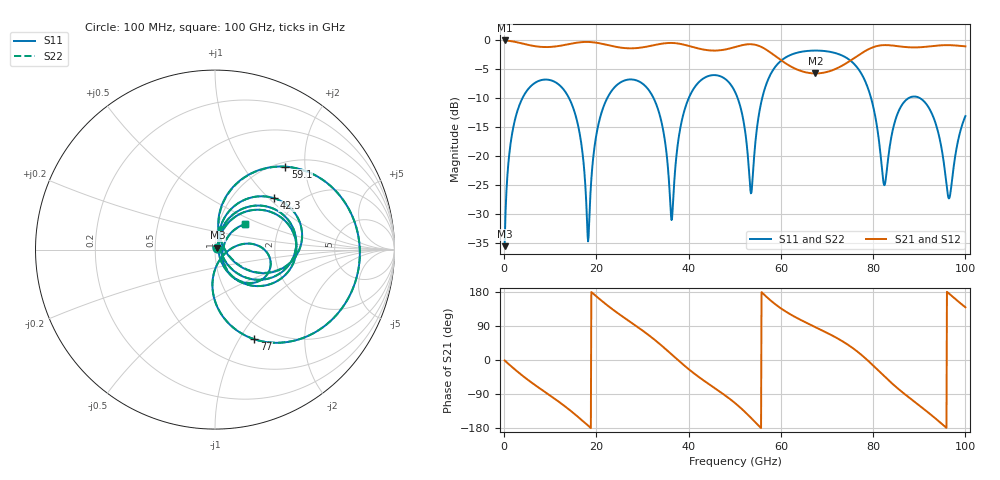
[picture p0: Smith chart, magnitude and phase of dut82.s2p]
! Touchstone file exported from HFSS 2026.1.0
!  File:  C:/ffzhzh/LocalFiles/Ansys_Project_Files/temp_train_TSV_RDL_82_1783451769_28540.aedt
!  Generated:  03:28:53 AM Jul  8, 2026
!  Design:  TSV_RDL
!  Project:  temp_train_TSV_RDL_82_1783451769_28540
! Variables:
!  h_bsmrdl = 4um
!  h_ox = 20um
!  h_rdl = 5um
!  h_sub = 70.7um
!  h_tmrdl = 4.01um
!  h_tsv = 70.7um
!  h_via = 3um
!  l_bsmrdl = 148.19um
!  l_sub = 3232.06um
!  l_tmrdl = 563.64um
!  m_sub = 200um
!  pitch = 42.62um
!  r_tsv = 7.42um
!  s_tmrdl = 10um
!  w_bsmrdl = 23.68um
!  w_sub = 500um
!  w_tmrdl = 20.63um
!  x_tsv_center1 = 573.955um
!  x_tsv_center2 = 745.825um
!  x_tsv_center3 = 1330.095um
!  x_tsv_center4 = 1501.965um
!  x_tsv_center5 = 2086.235um
!  x_tsv_center6 = 2258.105um
# GHz S MA R 50.000000
! Terminal data exported
! Port[1] = TM_RDL1_1_T1
! Port[2] = TM_RDL5_1_T1
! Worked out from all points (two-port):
!   1000 points, 100 MHz to 100 GHz, reference 50 ohm
!   highest |S21| = -0.12 dB at 100 MHz (marker M1); lowest = -5.8 dB at 67.5 GHz (marker M2)
!   |S21| within 3 dB of the highest: start of sweep to 59.32 GHz; 75.97 GHz to end of sweep
!   lowest |S11| = -35.6 dB at 100 MHz (marker M3), VSWR 1.03, Z = 51.3 + j1.02 ohm
!   |S11| at or under -10 dB: 14.04 GHz to 22.38 GHz (8.346 GHz wide, 45.8 % of centre); 79.53 GHz to 87.8 GHz (8.268 GHz wide, 9.88 % of centre); 90.02 GHz to end of sweep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
!   |S22| runs from -35.6 to -1.9 dB; largest |S21 - S12| = 1.6e-12
!   S11 on the Smith chart (normalised r, x): 100 MHz: 1.03, +0.02; 42.3 GHz: 1.51, +1.07; 59.1 GHz: 1.08, +1.59; 77 GHz: 0.82, -1.16; 100 GHz: 1.34, +0.40
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0.1  0.01667 36.6  0.9868 -1.1  0.9868 -1.1  0.01667 36.6
! Gamma 0 0 0 0
! Port Impedance 50 0 50 0
1.9  0.1697 63.3  0.9674 -20.5  0.9674 -20.5  0.1697 63.3
5.7  0.3954 29.5  0.895 -57.4  0.895 -57.4  0.3954 29.5
16.8  0.1215 -61.9  0.9544 -158.3  0.9544 -158.3  0.1215 -61.9
18.2  0.01834 3.2  0.9583 -173.1  0.9583 -173.1  0.01827 3.3
23  0.3487 44.7  0.8905 138.3  0.8905 138.3  0.3487 44.8
33.4  0.2492 -40.5  0.9144 45.7  0.9144 45.7  0.2491 -40.3
36.3  0.02797 10.8  0.9391 14.9  0.9391 14.9  0.02859 11.2
38.6  0.2078 71.7  0.9149 -9.9  0.9149 -9.9  0.208 71.6
42.3  0.4348 41.3  0.8383 -45.7  0.8383 -45.7  0.4349 41.4
50.1  0.353 -20.4  0.8665 -114.1  0.8665 -114.1  0.3531 -20.1
53.6  0.04806 33.6  0.9156 -153.8  0.9156 -153.8  0.05028 33.4
59.1  0.6062 49.7  0.7089 144.2  0.7089 144.2  0.6065 49.6
66.7  0.8063 0.6  0.5146 91.3  0.5146 91.3  0.8064 0.6
67.5  0.8076 -3.7  0.513 86.6  0.513 86.6  0.8077 -3.7
77  0.5451 -66.4  0.7442 18.2  0.7442 18.2  0.5452 -66.3
82.3  0.0574 -52.6  0.8994 -41.7  0.8994 -41.7  0.0574 -52.5
83.4  0.1056 7.5  0.8979 -54.2  0.8979 -54.2  0.1056 7.6
87.6  0.3129 -10.4  0.8624 -97.3  0.8624 -97.3  0.3129 -10.2
93.6  0.1873 -56.3  0.8889 -155.2  0.8889 -155.2  0.1876 -55.8
96.5  0.0431 -2.3  0.8991 174.7  0.8991 174.7  0.04475 -2.2
100  0.2201 40.1  0.8786 139.2  0.8786 139.2  0.2205 39.8
